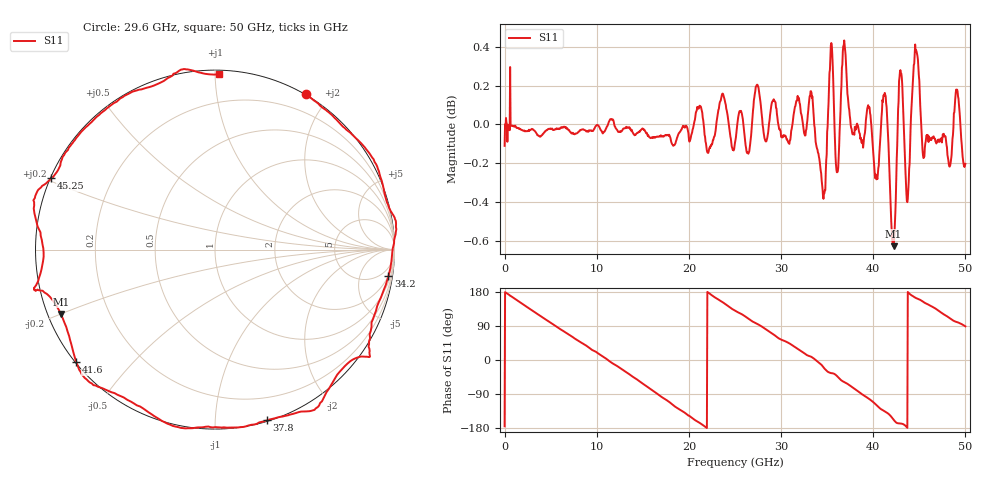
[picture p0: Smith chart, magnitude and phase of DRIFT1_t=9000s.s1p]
!Created with skrf (http://scikit-rf.org).
# Hz S RI R 50.0
!freq ReS11 ImS11
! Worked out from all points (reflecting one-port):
!   1001 points, 300 kHz to 50 GHz, reference 50 ohm
!   lowest |S11| = -0.6 dB at 42.2 GHz (marker M1), VSWR 27.72, Z = 1.88 - j10 ohm
!   phase of S11 starts at -175 deg and turns -816 deg over the sweep
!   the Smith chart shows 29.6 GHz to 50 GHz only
!   S11 on the Smith chart (normalised r, x): 29.6 GHz: -0.01, +1.74; 34.2 GHz: 2, -13; 37.8 GHz: 0.01, -1.35; 41.6 GHz: 0.00, -0.35; 45.25 GHz: 0.00, +0.21; 50 GHz: 0.02, +1.02
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300000  -0.9835 -0.0867
1.500291e9  -0.9055 0.4188
3.30028e9  -0.5805 0.8093
6.250262e9  0.2022 0.9775
9.500243e9  0.8921 0.4433
1.250022e10  0.9325 -0.3494
1.580021e10  0.2379 -0.9631
1.73502e10  -0.2114 -0.9705
1.875019e10  -0.5974 -0.7927
2.150017e10  -0.9929 -0.1485
2.350016e10  -0.9216 0.4268
2.500015e10  -0.6361 0.7577
2.740014e10  -0.0952 1.019
2.960012e10  0.5062 0.8672
3.125011e10  0.7852 0.6203
3.30501e10  0.9972 0.1846
3.420009e10  0.9666 -0.1476
3.520009e10  0.86 -0.5521
3.750008e10  0.3756 -0.9302
3.780007e10  0.2899 -0.9509
3.955006e10  -0.2173 -0.9866
4.160005e10  -0.7734 -0.6254
4.220005e10  -0.8582 -0.3593
4.290004e10  -1.007 -0.2252
4.375004e10  -0.9568 0.00806
4.525003e10  -0.9114 0.3969
4.775001e10  -0.4817 0.8682
5e10  0.0211 0.9767
